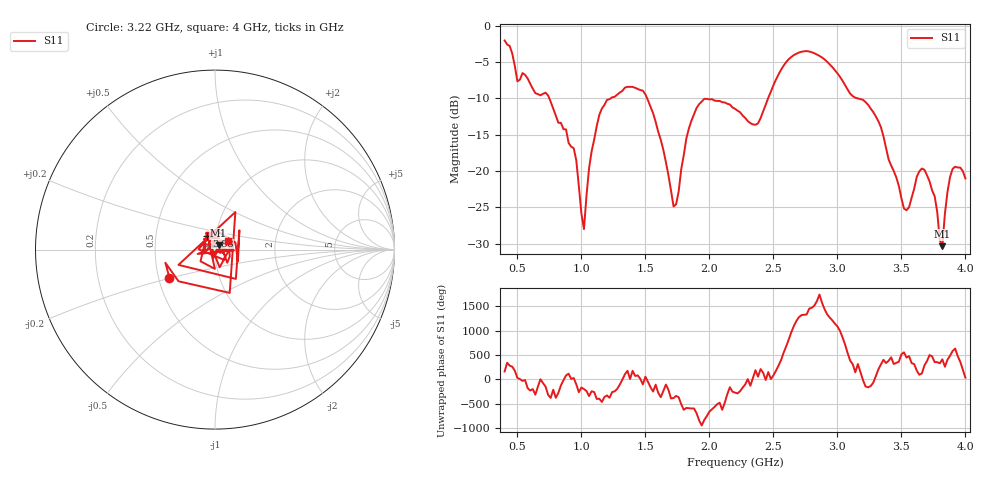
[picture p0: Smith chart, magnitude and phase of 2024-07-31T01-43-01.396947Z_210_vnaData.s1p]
!Created with skrf (http://scikit-rf.org).
# Hz S RI R 50.0
!freq ReS11 ImS11
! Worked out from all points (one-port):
!   181 points, 400 MHz to 4 GHz, reference 50 ohm
!   lowest |S11| = -30.3 dB at 3.82 GHz (marker M1), VSWR 1.06, Z = 51.9 + j2.41 ohm
!   |S11| at or under -10 dB: 749.4 MHz to 1.228 GHz (478.2 MHz wide, 48.4 % of centre); 1.514 GHz to 2.458 GHz (944.2 MHz wide, 47.5 % of centre); 3.161 GHz to end of sweep
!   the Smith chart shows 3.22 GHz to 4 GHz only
!   S11 on the Smith chart (normalised r, x): 3.22 GHz: 0.57, -0.20; 3.88 GHz: 0.90, +0.14; 4 GHz: 1.15, +0.12
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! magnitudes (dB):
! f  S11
! 400 MHz  -2.0
! 500 MHz  -7.6
! 720 MHz  -9.2
! 860 MHz  -14.2
! 960 MHz  -18.5
! 1.02 GHz  -28.0
! 1.06 GHz  -19.6
! 1.14 GHz  -12.3
! 1.3 GHz  -9.2
! 1.5 GHz  -9.4
! 1.64 GHz  -17.1
! 1.72 GHz  -24.9
! 1.76 GHz  -22.8
! 1.82 GHz  -15.5
! 1.92 GHz  -10.8
! 2.2 GHz  -11.4
! 2.38 GHz  -13.4
! 2.66 GHz  -4.0
! 2.88 GHz  -4.4
! 3.1 GHz  -9.3
! 3.22 GHz  -10.5
! 3.52 GHz  -25.2
! 3.56 GHz  -25.0
! 3.68 GHz  -19.8
! 3.76 GHz  -23.5
! 3.82 GHz  -30.3
! 3.88 GHz  -20.8
! 4 GHz  -21.0
